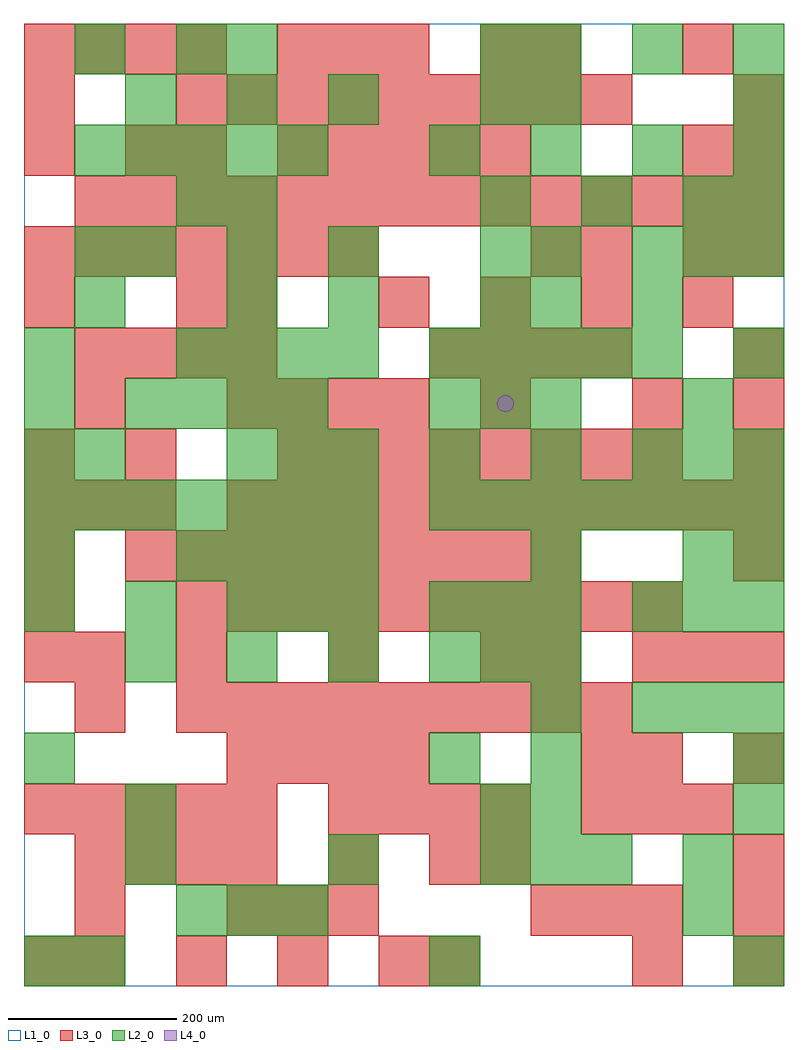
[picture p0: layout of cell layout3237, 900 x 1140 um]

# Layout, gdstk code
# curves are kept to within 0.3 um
import gdstk
lib = gdstk.Library(unit=1e-6, precision=1e-09)
def R(c, l, rs):  # rectangles x0, y0, x1, y1
    for r in rs: c.add(gdstk.rectangle(r[:2], r[2:], *l))
def A(c, l, x, y, w, h, nx, ny, dx, dy):  # array of equal rectangles
    R(c, l, [(x+i*dx, y+j*dy, x+i*dx+w, y+j*dy+h) for i in range(nx) for j in range(ny)])
def P(c, l, *ps):  # polygons
    for p in ps: c.add(gdstk.Polygon(p, *l))
L1_0 = (1, 0)
L2_0 = (2, 0)
L3_0 = (3, 0)
L4_0 = (4, 0)

layout3237 = lib.new_cell('layout3237')
R(layout3237, L1_0, [(0,0,900,1140)])
A(layout3237, L2_0, 0, 0, 60, 60, 1, 3, 0, 240)
A(layout3237, L2_0, 180, 60, 60, 60, 3, 1, 60, 0)
A(layout3237, L2_0, 540, 120, 60, 60, 3, 1, 60, 0)
A(layout3237, L2_0, 600, 180, 60, 60, 1, 4, 0, 60)
A(layout3237, L2_0, 720, 300, 60, 60, 3, 2, 60, 120)
A(layout3237, L2_0, 120, 360, 60, 60, 4, 1, 120, 0)
A(layout3237, L2_0, 0, 420, 60, 60, 3, 1, 120, 0)
A(layout3237, L2_0, 480, 420, 60, 60, 3, 2, 60, 240)
A(layout3237, L2_0, 180, 480, 60, 60, 4, 2, 60, 240)
A(layout3237, L2_0, 840, 480, 60, 60, 1, 3, 0, 120)
A(layout3237, L2_0, 0, 540, 60, 60, 7, 1, 60, 0)
A(layout3237, L2_0, 480, 540, 60, 60, 7, 1, 60, 0)
A(layout3237, L2_0, 0, 600, 60, 60, 1, 3, 0, 60)
A(layout3237, L2_0, 240, 600, 60, 60, 3, 1, 60, 0)
A(layout3237, L2_0, 480, 600, 60, 60, 3, 1, 120, 0)
A(layout3237, L2_0, 120, 660, 60, 60, 4, 1, 60, 0)
A(layout3237, L2_0, 480, 720, 60, 60, 5, 1, 60, 0)
A(layout3237, L2_0, 120, 840, 60, 60, 3, 2, 120, 180)
A(layout3237, L2_0, 720, 840, 60, 60, 3, 1, 60, 0)
A(layout3237, L2_0, 540, 900, 60, 60, 3, 1, 120, 0)
A(layout3237, L2_0, 60, 960, 60, 60, 5, 1, 60, 0)
A(layout3237, L2_0, 480, 960, 60, 60, 4, 1, 120, 0)
A(layout3237, L2_0, 600, 1080, 60, 60, 3, 1, 120, 0)
R(layout3237, L2_0, [(60,0,120,60), (480,0,540,60), (840,0,900,60), (780,60,840,120), (120,120,180,180), (360,120,420,180), (780,120,840,180), (120,180,180,240), (540,180,600,240), (840,180,900,240), (480,240,540,300), (840,240,900,300), (540,360,600,420), (300,420,360,480), (360,420,420,480), (600,480,660,540), (780,480,840,540), (60,600,120,660), (780,600,840,660), (780,660,840,720), (60,780,120,840), (240,780,300,840), (360,780,420,840), (540,780,600,840), (600,780,660,840), (720,780,780,840), (60,840,120,900), (540,840,600,900), (600,840,660,900), (180,900,240,960), (240,900,300,960), (840,900,900,960), (540,1020,600,1080), (600,1020,660,1080), (840,1020,900,1080), (60,1080,120,1140), (180,1080,240,1140), (240,1080,300,1140), (540,1080,600,1140)])
A(layout3237, L3_0, 60, 0, 60, 60, 4, 1, 120, 0)
A(layout3237, L3_0, 840, 0, 60, 60, 1, 3, 0, 60)
A(layout3237, L3_0, 240, 60, 60, 60, 3, 1, 60, 0)
A(layout3237, L3_0, 600, 60, 60, 60, 3, 1, 60, 0)
A(layout3237, L3_0, 60, 120, 60, 60, 4, 2, 60, 600)
A(layout3237, L3_0, 0, 180, 60, 60, 5, 1, 60, 0)
A(layout3237, L3_0, 360, 180, 60, 60, 4, 1, 60, 0)
A(layout3237, L3_0, 660, 180, 60, 60, 3, 1, 60, 0)
A(layout3237, L3_0, 240, 240, 60, 60, 4, 2, 60, 420)
A(layout3237, L3_0, 180, 300, 60, 60, 9, 2, 60, 720)
A(layout3237, L3_0, 0, 360, 60, 60, 1, 3, 0, 60)
A(layout3237, L3_0, 180, 360, 60, 60, 3, 1, 180, 0)
A(layout3237, L3_0, 720, 360, 60, 60, 3, 1, 60, 0)
A(layout3237, L3_0, 180, 420, 60, 60, 10, 1, 60, 0)
A(layout3237, L3_0, 120, 480, 60, 60, 9, 1, 60, 0)
A(layout3237, L3_0, 0, 540, 60, 60, 3, 1, 60, 0)
A(layout3237, L3_0, 240, 540, 60, 60, 11, 1, 60, 0)
A(layout3237, L3_0, 0, 600, 60, 60, 1, 3, 0, 180)
A(layout3237, L3_0, 300, 600, 60, 60, 8, 1, 60, 0)
A(layout3237, L3_0, 840, 600, 60, 60, 1, 3, 0, 60)
A(layout3237, L3_0, 480, 720, 60, 60, 4, 1, 60, 0)
A(layout3237, L3_0, 420, 780, 60, 60, 4, 1, 120, 0)
A(layout3237, L3_0, 0, 840, 60, 60, 7, 1, 60, 0)
A(layout3237, L3_0, 780, 840, 60, 60, 1, 3, 0, 120)
A(layout3237, L3_0, 60, 900, 60, 60, 14, 1, 60, 0)
A(layout3237, L3_0, 300, 960, 60, 60, 5, 1, 60, 0)
A(layout3237, L3_0, 0, 1080, 60, 60, 4, 1, 60, 0)
A(layout3237, L3_0, 300, 1080, 60, 60, 3, 1, 60, 0)
R(layout3237, L3_0, [(0,0,60,60), (480,0,540,60), (720,0,780,60), (60,60,120,120), (360,120,420,180), (480,120,540,180), (540,120,600,180), (660,240,720,300), (720,240,780,300), (840,240,900,300), (60,300,120,360), (60,360,120,420), (600,360,660,420), (840,480,900,540), (120,600,180,660), (60,660,120,720), (540,660,600,720), (720,660,780,720), (180,780,240,840), (240,780,300,840), (600,840,660,900), (660,840,720,900), (840,840,900,900), (120,960,180,1020), (180,960,240,1020), (840,960,900,1020), (0,1020,60,1080), (840,1020,900,1080), (540,1080,600,1140), (600,1080,660,1140)])
P(layout3237, L4_0, [(580,690),(579.239,693.827),(577.071,697.071),(573.827,699.239),(570,700),(566.173,699.239),(562.929,697.071),(560.761,693.827),(560,690),(560.761,686.173),(562.929,682.929),(566.173,680.761),(570,680),(573.827,680.761),(577.071,682.929),(579.239,686.173)])

lib.write_gds('layout3237.gds')
